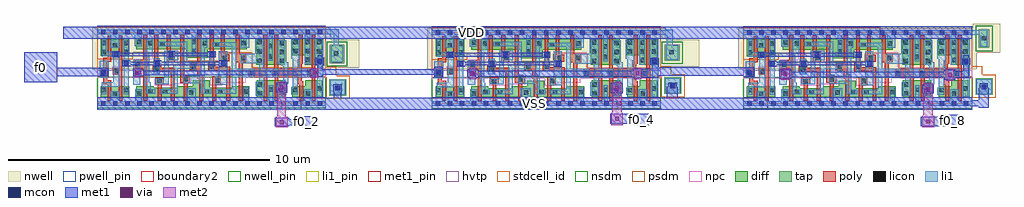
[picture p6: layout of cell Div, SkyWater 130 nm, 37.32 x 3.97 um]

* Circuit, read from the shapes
.subckt Div VDD VSS f0 f0_2 f0_4 f0_8
XM1 VSS f0 n1 VSS sky130_fd_pr__nfet_01v8 w=0.42 l=0.15
XM2 n2 n1 VSS VSS sky130_fd_pr__nfet_01v8 w=0.42 l=0.15
XM3 n3 sky130_fd_sc_hd__dfxbp_1_1/CLK VSS VSS sky130_fd_pr__nfet_01v8 w=0.42 l=0.15
XM4 n4 n1 n3 VSS sky130_fd_pr__nfet_01v8 w=0.36 l=0.15
XM5 n5 n2 n4 VSS sky130_fd_pr__nfet_01v8 w=0.36 l=0.15
XM6 VSS n6 n5 VSS sky130_fd_pr__nfet_01v8 w=0.42 l=0.15
XM7 n6 n4 VSS VSS sky130_fd_pr__nfet_01v8 w=0.64 l=0.15
XM8 n7 n2 n6 VSS sky130_fd_pr__nfet_01v8 w=0.36 l=0.15
XM9 n8 n1 n7 VSS sky130_fd_pr__nfet_01v8 w=0.36 l=0.15
XM10 VSS n9 n8 VSS sky130_fd_pr__nfet_01v8 w=0.42 l=0.15
XM11 VSS n7 n9 VSS sky130_fd_pr__nfet_01v8 w=0.65 l=0.15
XM12 f0_2 n9 VSS VSS sky130_fd_pr__nfet_01v8 w=0.65 l=0.15
XM13 VSS n9 n10 VSS sky130_fd_pr__nfet_01v8 w=0.42 l=0.15
XM14 sky130_fd_sc_hd__dfxbp_1_1/CLK n10 VSS VSS sky130_fd_pr__nfet_01v8 w=0.65 l=0.15
XM15 VSS sky130_fd_sc_hd__dfxbp_1_1/CLK n11 VSS sky130_fd_pr__nfet_01v8 w=0.42 l=0.15
XM16 n12 n11 VSS VSS sky130_fd_pr__nfet_01v8 w=0.42 l=0.15
XM17 n13 sky130_fd_sc_hd__dfxbp_1_0/CLK VSS VSS sky130_fd_pr__nfet_01v8 w=0.42 l=0.15
XM18 n14 n11 n13 VSS sky130_fd_pr__nfet_01v8 w=0.36 l=0.15
XM19 n15 n12 n14 VSS sky130_fd_pr__nfet_01v8 w=0.36 l=0.15
XM20 VSS n16 n15 VSS sky130_fd_pr__nfet_01v8 w=0.42 l=0.15
XM21 n16 n14 VSS VSS sky130_fd_pr__nfet_01v8 w=0.64 l=0.15
XM22 n17 n12 n16 VSS sky130_fd_pr__nfet_01v8 w=0.36 l=0.15
XM23 n18 n11 n17 VSS sky130_fd_pr__nfet_01v8 w=0.36 l=0.15
XM24 VSS n19 n18 VSS sky130_fd_pr__nfet_01v8 w=0.42 l=0.15
XM25 VSS n17 n19 VSS sky130_fd_pr__nfet_01v8 w=0.65 l=0.15
XM26 f0_4 n19 VSS VSS sky130_fd_pr__nfet_01v8 w=0.65 l=0.15
XM27 VSS n19 n20 VSS sky130_fd_pr__nfet_01v8 w=0.42 l=0.15
XM28 sky130_fd_sc_hd__dfxbp_1_0/CLK n20 VSS VSS sky130_fd_pr__nfet_01v8 w=0.65 l=0.15
XM29 VSS sky130_fd_sc_hd__dfxbp_1_0/CLK n21 VSS sky130_fd_pr__nfet_01v8 w=0.42 l=0.15
XM30 n22 n21 VSS VSS sky130_fd_pr__nfet_01v8 w=0.42 l=0.15
XM31 n23 sky130_fd_sc_hd__dfxbp_1_0/D VSS VSS sky130_fd_pr__nfet_01v8 w=0.42 l=0.15
XM32 n24 n21 n23 VSS sky130_fd_pr__nfet_01v8 w=0.36 l=0.15
XM33 n25 n22 n24 VSS sky130_fd_pr__nfet_01v8 w=0.36 l=0.15
XM34 VSS n26 n25 VSS sky130_fd_pr__nfet_01v8 w=0.42 l=0.15
XM35 n26 n24 VSS VSS sky130_fd_pr__nfet_01v8 w=0.64 l=0.15
XM36 n27 n22 n26 VSS sky130_fd_pr__nfet_01v8 w=0.36 l=0.15
XM37 n28 n21 n27 VSS sky130_fd_pr__nfet_01v8 w=0.36 l=0.15
XM38 VSS n29 n28 VSS sky130_fd_pr__nfet_01v8 w=0.42 l=0.15
XM39 VSS n27 n29 VSS sky130_fd_pr__nfet_01v8 w=0.65 l=0.15
XM40 f0_8 n29 VSS VSS sky130_fd_pr__nfet_01v8 w=0.65 l=0.15
XM41 VSS n29 n30 VSS sky130_fd_pr__nfet_01v8 w=0.42 l=0.15
XM42 sky130_fd_sc_hd__dfxbp_1_0/D n30 VSS VSS sky130_fd_pr__nfet_01v8 w=0.65 l=0.15
XM43 VDD f0 n1 VDD sky130_fd_pr__pfet_01v8_hvt w=0.64 l=0.15
XM44 n2 n1 VDD VDD sky130_fd_pr__pfet_01v8_hvt w=0.64 l=0.15
XM45 n3 sky130_fd_sc_hd__dfxbp_1_1/CLK VDD VDD sky130_fd_pr__pfet_01v8_hvt w=0.42 l=0.15
XM46 n4 n2 n3 VDD sky130_fd_pr__pfet_01v8_hvt w=0.42 l=0.15
XM47 n31 n1 n4 VDD sky130_fd_pr__pfet_01v8_hvt w=0.42 l=0.15
XM48 VDD n6 n31 VDD sky130_fd_pr__pfet_01v8_hvt w=0.42 l=0.15
XM49 n6 n4 VDD VDD sky130_fd_pr__pfet_01v8_hvt w=0.75 l=0.15
XM50 n7 n1 n6 VDD sky130_fd_pr__pfet_01v8_hvt w=0.42 l=0.15
XM51 n32 n2 n7 VDD sky130_fd_pr__pfet_01v8_hvt w=0.42 l=0.15
XM52 VDD n9 n32 VDD sky130_fd_pr__pfet_01v8_hvt w=0.42 l=0.15
XM53 VDD n7 n9 VDD sky130_fd_pr__pfet_01v8_hvt w=1 l=0.15
XM54 f0_2 n9 VDD VDD sky130_fd_pr__pfet_01v8_hvt w=1 l=0.15
XM55 VDD n9 n10 VDD sky130_fd_pr__pfet_01v8_hvt w=0.64 l=0.15
XM56 sky130_fd_sc_hd__dfxbp_1_1/CLK n10 VDD VDD sky130_fd_pr__pfet_01v8_hvt w=1 l=0.15
XM57 VDD sky130_fd_sc_hd__dfxbp_1_1/CLK n11 VDD sky130_fd_pr__pfet_01v8_hvt w=0.64 l=0.15
XM58 n12 n11 VDD VDD sky130_fd_pr__pfet_01v8_hvt w=0.64 l=0.15
XM59 n13 sky130_fd_sc_hd__dfxbp_1_0/CLK VDD VDD sky130_fd_pr__pfet_01v8_hvt w=0.42 l=0.15
XM60 n14 n12 n13 VDD sky130_fd_pr__pfet_01v8_hvt w=0.42 l=0.15
XM61 n33 n11 n14 VDD sky130_fd_pr__pfet_01v8_hvt w=0.42 l=0.15
XM62 VDD n16 n33 VDD sky130_fd_pr__pfet_01v8_hvt w=0.42 l=0.15
XM63 n16 n14 VDD VDD sky130_fd_pr__pfet_01v8_hvt w=0.75 l=0.15
XM64 n17 n11 n16 VDD sky130_fd_pr__pfet_01v8_hvt w=0.42 l=0.15
XM65 n34 n12 n17 VDD sky130_fd_pr__pfet_01v8_hvt w=0.42 l=0.15
XM66 VDD n19 n34 VDD sky130_fd_pr__pfet_01v8_hvt w=0.42 l=0.15
XM67 VDD n17 n19 VDD sky130_fd_pr__pfet_01v8_hvt w=1 l=0.15
XM68 f0_4 n19 VDD VDD sky130_fd_pr__pfet_01v8_hvt w=1 l=0.15
XM69 VDD n19 n20 VDD sky130_fd_pr__pfet_01v8_hvt w=0.64 l=0.15
XM70 sky130_fd_sc_hd__dfxbp_1_0/CLK n20 VDD VDD sky130_fd_pr__pfet_01v8_hvt w=1 l=0.15
XM71 VDD sky130_fd_sc_hd__dfxbp_1_0/CLK n21 VDD sky130_fd_pr__pfet_01v8_hvt w=0.64 l=0.15
XM72 n22 n21 VDD VDD sky130_fd_pr__pfet_01v8_hvt w=0.64 l=0.15
XM73 n23 sky130_fd_sc_hd__dfxbp_1_0/D VDD VDD sky130_fd_pr__pfet_01v8_hvt w=0.42 l=0.15
XM74 n24 n22 n23 VDD sky130_fd_pr__pfet_01v8_hvt w=0.42 l=0.15
XM75 n35 n21 n24 VDD sky130_fd_pr__pfet_01v8_hvt w=0.42 l=0.15
XM76 VDD n26 n35 VDD sky130_fd_pr__pfet_01v8_hvt w=0.42 l=0.15
XM77 n26 n24 VDD VDD sky130_fd_pr__pfet_01v8_hvt w=0.75 l=0.15
XM78 n27 n21 n26 VDD sky130_fd_pr__pfet_01v8_hvt w=0.42 l=0.15
XM79 n36 n22 n27 VDD sky130_fd_pr__pfet_01v8_hvt w=0.42 l=0.15
XM80 VDD n29 n36 VDD sky130_fd_pr__pfet_01v8_hvt w=0.42 l=0.15
XM81 VDD n27 n29 VDD sky130_fd_pr__pfet_01v8_hvt w=1 l=0.15
XM82 f0_8 n29 VDD VDD sky130_fd_pr__pfet_01v8_hvt w=1 l=0.15
XM83 VDD n29 n30 VDD sky130_fd_pr__pfet_01v8_hvt w=0.64 l=0.15
XM84 sky130_fd_sc_hd__dfxbp_1_0/D n30 VDD VDD sky130_fd_pr__pfet_01v8_hvt w=1 l=0.15
.ends

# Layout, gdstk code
import gdstk
lib = gdstk.Library(unit=1e-6, precision=1e-09)
def R(c, l, rs):  # rectangles x0, y0, x1, y1
    for r in rs: c.add(gdstk.rectangle(r[:2], r[2:], *l))
def A(c, l, x, y, w, h, nx, ny, dx, dy):  # array of equal rectangles
    R(c, l, [(x+i*dx, y+j*dy, x+i*dx+w, y+j*dy+h) for i in range(nx) for j in range(ny)])
def P(c, l, *ps):  # polygons
    for p in ps: c.add(gdstk.Polygon(p, *l))
nwell_pin = (64, 16)
nwell = (64, 20)
diff = (65, 20)
tap = (65, 44)
poly = (66, 20)
licon = (66, 44)
li1_pin = (67, 16)
li1 = (67, 20)
mcon = (67, 44)
met1_pin = (68, 16)
met1 = (68, 20)
via = (68, 44)
met2 = (69, 20)
hvtp = (78, 44)
stdcell_id = (81, 4)
nsdm = (93, 44)
psdm = (94, 20)
npc = (95, 20)
pwell_pin = (122, 16)
boundary2 = (236, 0)

sky130_fd_sc_hd__dfxbp_1 = lib.new_cell('sky130_fd_sc_hd__dfxbp_1')
R(sky130_fd_sc_hd__dfxbp_1, nwell_pin, [(0.145,2.635,0.315,2.805), (0.145,2.635,0.315,2.805)])
R(sky130_fd_sc_hd__dfxbp_1, nwell, [(-0.19,1.305,8.93,2.91)])
R(sky130_fd_sc_hd__dfxbp_1, diff, [(0.135,0.235,1.225,0.655), (6.1,0.235,7.19,0.885), (6.08,1.485,7.18,2.485), (0.135,1.815,1.225,2.455)])
P(sky130_fd_sc_hd__dfxbp_1, diff, [(5.71,2.485),(1.495,2.485),(1.495,2.065),(3.395,2.065),(3.395,1.735),(4.23,1.735),(4.23,2.065),(5.71,2.065)],
  [(5.82,0.655),(5.16,0.655),(5.16,0.595),(4.3,0.595),(4.3,0.875),(3.65,0.875),(3.65,0.655),(3.055,0.655),(3.055,0.595),(2.155,0.595),(2.155,0.655),(1.495,0.655),(1.495,0.235),(5.82,0.235)],
  [(8.605,2.485),(7.45,2.485),(7.45,1.845),(7.935,1.845),(7.935,1.485),(8.605,1.485)],
  [(8.605,0.885),(7.945,0.885),(7.945,0.655),(7.46,0.655),(7.46,0.235),(8.605,0.235)])
P(sky130_fd_sc_hd__dfxbp_1, poly, [(0.545,0.88),(0.38,0.88),(0.38,1.59),(0.545,1.59),(0.545,2.585),(0.395,2.585),(0.395,1.74),(0.23,1.74),(0.23,1.325),(0.11,1.325),(0.11,0.995),(0.23,0.995),(0.23,0.73),(0.395,0.73),(0.395,0.105),(0.545,0.105)],
  [(0.965,2.585),(0.815,2.585),(0.815,1.37),(0.59,1.37),(0.59,1.1),(0.815,1.1),(0.815,0.105),(0.965,0.105)],
  [(1.905,2.615),(1.755,2.615),(1.755,1.665),(1.43,1.665),(1.43,1.335),(1.755,1.335),(1.755,0.105),(1.905,0.105)],
  [(2.545,1.005),(2.215,1.005),(2.215,0.735),(2.315,0.735),(2.315,0.105),(2.465,0.105),(2.465,0.735),(2.545,0.735)],
  [(2.96,1.905),(2.805,1.905),(2.805,2.615),(2.655,2.615),(2.655,1.575),(2.96,1.575)],
  [(2.96,1.365),(2.445,1.365),(2.445,1.485),(2.33,1.485),(2.33,2.615),(2.18,2.615),(2.18,1.485),(2.115,1.485),(2.115,1.215),(2.81,1.215),(2.81,0.105),(2.96,0.105)],
  [(3.54,1.065),(3.32,1.065),(3.32,2.615),(3.17,2.615),(3.17,0.795),(3.305,0.795),(3.305,0.105),(3.455,0.105),(3.455,0.795),(3.54,0.795)],
  [(5.7,1.905),(5.445,1.905),(5.445,2.615),(5.295,2.615),(5.295,1.575),(5.41,1.575),(5.41,0.105),(5.56,0.105),(5.56,1.575),(5.7,1.575)],
  [(6.51,1.325),(6.5,1.325),(6.5,2.615),(6.35,2.615),(6.35,1.325),(5.8,1.325),(5.8,0.995),(6.36,0.995),(6.36,0.105),(6.51,0.105)],
  [(7.87,0.85),(7.815,0.85),(7.815,1.515),(7.86,1.515),(7.86,2.615),(7.71,2.615),(7.71,1.665),(7.665,1.665),(7.665,1.325),(6.92,1.325),(6.92,2.615),(6.77,2.615),(6.77,1.325),(6.72,1.325),(6.72,0.995),(6.78,0.995),(6.78,0.105),(6.93,0.105),(6.93,0.995),(7.665,0.995),(7.665,0.73),(7.72,0.73),(7.72,0.105),(7.87,0.105)],
  [(4.05,1.1),(3.98,1.1),(3.98,2.615),(3.83,2.615),(3.83,1.545),(3.53,1.545),(3.53,1.275),(3.83,1.275),(3.83,0.95),(3.9,0.95),(3.9,0.105),(4.05,0.105)],
  [(4.725,1.035),(4.405,1.035),(4.405,0.105),(4.555,0.105),(4.555,0.705),(4.725,0.705)],
  [(8.345,2.615),(8.195,2.615),(8.195,1.325),(8.025,1.325),(8.025,0.995),(8.195,0.995),(8.195,0.105),(8.345,0.105)],
  [(5.05,1.875),(4.875,1.875),(4.875,2.615),(4.725,2.615),(4.725,1.875),(4.72,1.875),(4.72,1.605),(5.05,1.605)],
  [(5.085,1.395),(4.51,1.395),(4.51,1.575),(4.455,1.575),(4.455,2.615),(4.305,2.615),(4.305,1.575),(4.24,1.575),(4.24,1.245),(4.935,1.245),(4.935,0.105),(5.085,0.105)])
A(sky130_fd_sc_hd__dfxbp_1, licon, 6.12, 1.545, 0.17, 0.17, 1, 3, 0, 0.355)
A(sky130_fd_sc_hd__dfxbp_1, licon, 6.97, 1.545, 0.17, 0.17, 1, 3, 0, 0.34)
A(sky130_fd_sc_hd__dfxbp_1, licon, 8.395, 1.545, 0.17, 0.17, 1, 3, 0, 0.355)
A(sky130_fd_sc_hd__dfxbp_1, licon, 7.975, 1.575, 0.17, 0.17, 1, 3, 0, 0.34)
R(sky130_fd_sc_hd__dfxbp_1, licon, [(0.595,0.295,0.765,0.465), (1.535,0.295,1.705,0.465), (7.975,0.295,8.145,0.465), (6.14,0.3,6.31,0.47), (6.98,0.31,7.15,0.48), (3.51,0.335,3.68,0.505), (1.96,0.365,2.13,0.535), (2.515,0.365,2.685,0.535), (4.105,0.365,4.275,0.535), (4.62,0.365,4.79,0.535), (5.61,0.365,5.78,0.535), (0.175,0.425,0.345,0.595), (1.015,0.425,1.185,0.595), (7.5,0.425,7.67,0.595), (6.56,0.445,6.73,0.615), (8.395,0.485,8.565,0.655), (6.14,0.64,6.31,0.81), (6.98,0.65,7.15,0.82), (2.295,0.785,2.465,0.955), (4.505,0.785,4.675,0.955), (3.29,0.845,3.46,1.015), (0.16,1.075,0.33,1.245), (5.85,1.075,6.02,1.245), (6.77,1.075,6.94,1.245), (8.075,1.075,8.245,1.245), (0.67,1.15,0.84,1.32), (2.195,1.265,2.365,1.435), (3.61,1.325,3.78,1.495), (4.29,1.325,4.46,1.495), (1.48,1.415,1.65,1.585), (2.74,1.655,2.91,1.825), (4.8,1.655,4.97,1.825), (5.48,1.655,5.65,1.825), (6.55,1.705,6.72,1.875), (0.175,1.875,0.345,2.045), (1.015,1.875,1.185,2.045), (3.61,1.915,3.78,2.085), (7.49,1.915,7.66,2.085), (6.55,2.105,6.72,2.275), (0.595,2.135,0.765,2.305), (4.505,2.165,4.675,2.335), (2.415,2.19,2.585,2.36), (0.175,2.215,0.345,2.385), (1.015,2.215,1.185,2.385), (1.955,2.215,2.125,2.385), (4.03,2.215,4.2,2.385), (5.5,2.215,5.67,2.385), (1.535,2.255,1.705,2.425), (3.61,2.255,3.78,2.425), (7.49,2.255,7.66,2.425)])
R(sky130_fd_sc_hd__dfxbp_1, li1_pin, [(6.95,0.425,7.12,0.595), (0.145,1.105,0.315,1.275), (1.445,1.105,1.615,1.275), (8.425,1.52,8.595,1.69)])
R(sky130_fd_sc_hd__dfxbp_1, li1, [(1.015,0.345,1.2,2.465), (1.37,0.715,1.65,1.665), (0.09,0.975,0.44,1.625), (2.16,1.125,2.4,1.72), (4.29,1.245,4.48,1.965)])
P(sky130_fd_sc_hd__dfxbp_1, li1, [(0.84,1.965),(0.345,1.965),(0.345,2.465),(0.175,2.465),(0.175,1.795),(0.61,1.795),(0.61,0.805),(0.175,0.805),(0.175,0.345),(0.345,0.345),(0.345,0.635),(0.84,0.635)],
  [(2.21,0.535),(2.045,0.535),(2.045,0.805),(1.99,0.805),(1.99,1.91),(2.125,1.91),(2.125,2.465),(1.875,2.465),(1.875,2.04),(1.82,2.04),(1.82,0.675),(1.875,0.675),(1.875,0.365),(2.21,0.365)],
  [(3.1,2.02),(2.57,2.02),(2.57,0.955),(2.215,0.955),(2.215,0.735),(2.74,0.735),(2.74,1.655),(3.1,1.655)],
  [(3.78,1.575),(3.44,1.575),(3.44,2.36),(2.335,2.36),(2.335,2.19),(3.27,2.19),(3.27,1.485),(2.91,1.485),(2.91,0.535),(2.405,0.535),(2.405,0.365),(3.08,0.365),(3.08,1.315),(3.61,1.315),(3.61,1.245),(3.78,1.245)],
  [(4.355,0.535),(4.12,0.535),(4.12,2.135),(4.2,2.135),(4.2,2.465),(3.95,2.465),(3.95,1.065),(3.49,1.065),(3.49,1.095),(3.29,1.095),(3.29,0.765),(3.95,0.765),(3.95,0.365),(4.355,0.365)],
  [(4.97,1.995),(4.65,1.995),(4.65,1.035),(4.505,1.035),(4.505,0.705),(4.97,0.705)],
  [(8.74,0.085),(8.225,0.085),(8.225,0.545),(7.905,0.545),(7.905,0.085),(6.73,0.085),(6.73,0.695),(6.56,0.695),(6.56,0.085),(5.795,0.085),(5.795,0.615),(5.585,0.615),(5.585,0.085),(3.77,0.085),(3.77,0.585),(3.4,0.585),(3.4,0.085),(1.705,0.085),(1.705,0.545),(1.455,0.545),(1.455,0.085),(0.845,0.085),(0.845,0.465),(0.515,0.465),(0.515,0.085),(0,0.085),(0,-0.085),(8.74,-0.085)],
  [(6.02,1.325),(5.31,1.325),(5.31,2.335),(4.425,2.335),(4.425,2.165),(5.14,2.165),(5.14,0.535),(4.525,0.535),(4.525,0.365),(5.31,0.365),(5.31,0.995),(6.02,0.995)],
  [(6.94,1.325),(6.38,1.325),(6.38,2.465),(6.04,2.465),(6.04,1.905),(5.48,1.905),(5.48,1.53),(6.19,1.53),(6.19,0.825),(6.06,0.825),(6.06,0.3),(6.39,0.3),(6.39,0.995),(6.94,0.995)],
  [(7.3,1.575),(7.22,1.575),(7.22,2.42),(6.89,2.42),(6.89,1.495),(7.065,1.495),(7.065,1.445),(7.11,1.445),(7.11,0.865),(7.055,0.865),(7.055,0.825),(6.9,0.825),(6.9,0.305),(7.23,0.305),(7.23,0.74),(7.3,0.74)],
  [(8.245,1.325),(7.74,1.325),(7.74,2.445),(7.41,2.445),(7.41,1.715),(7.47,1.715),(7.47,0.615),(7.42,0.615),(7.42,0.345),(7.67,0.345),(7.67,0.995),(8.245,0.995)],
  [(8.65,2.465),(8.315,2.465),(8.315,1.48),(8.415,1.48),(8.415,0.91),(8.395,0.91),(8.395,0.255),(8.65,0.255)],
  [(8.74,2.805),(0,2.805),(0,2.635),(0.515,2.635),(0.515,2.135),(0.845,2.135),(0.845,2.635),(1.44,2.635),(1.44,2.175),(1.705,2.175),(1.705,2.635),(3.61,2.635),(3.61,1.835),(3.78,1.835),(3.78,2.635),(5.49,2.635),(5.49,2.135),(5.805,2.135),(5.805,2.635),(6.55,2.635),(6.55,1.625),(6.72,1.625),(6.72,2.635),(7.93,2.635),(7.93,1.495),(8.145,1.495),(8.145,2.635),(8.74,2.635)])
A(sky130_fd_sc_hd__dfxbp_1, mcon, 0.145, -0.085, 0.17, 0.17, 19, 2, 0.46, 2.72)
R(sky130_fd_sc_hd__dfxbp_1, mcon, [(1.025,1.445,1.195,1.615), (2.215,1.445,2.385,1.615), (4.735,1.445,4.905,1.615), (0.63,1.785,0.8,1.955), (2.73,1.785,2.9,1.955), (4.3,1.785,4.47,1.955)])
R(sky130_fd_sc_hd__dfxbp_1, met1_pin, [(0.145,-0.085,0.315,0.085), (0.145,2.635,0.315,2.805)])
P(sky130_fd_sc_hd__dfxbp_1, met1, [(4.965,1.645),(4.675,1.645),(4.675,1.6),(2.445,1.6),(2.445,1.645),(2.155,1.645),(2.155,1.6),(1.255,1.6),(1.255,1.645),(0.965,1.645),(0.965,1.415),(1.255,1.415),(1.255,1.46),(2.155,1.46),(2.155,1.415),(2.445,1.415),(2.445,1.46),(4.675,1.46),(4.675,1.415),(4.965,1.415)],
  [(4.53,1.985),(4.24,1.985),(4.24,1.94),(2.96,1.94),(2.96,1.985),(2.67,1.985),(2.67,1.94),(0.86,1.94),(0.86,1.985),(0.57,1.985),(0.57,1.755),(0.86,1.755),(0.86,1.8),(2.67,1.8),(2.67,1.755),(2.96,1.755),(2.96,1.8),(4.24,1.8),(4.24,1.755),(4.53,1.755)])
R(sky130_fd_sc_hd__dfxbp_1, hvtp, [(0,1.25,8.74,2.72)])
R(sky130_fd_sc_hd__dfxbp_1, stdcell_id, [(0,0,8.74,2.72)])
R(sky130_fd_sc_hd__dfxbp_1, nsdm, [(0,-0.19,8.74,1.015)])
P(sky130_fd_sc_hd__dfxbp_1, psdm, [(8.74,2.91),(0,2.91),(0,1.685),(1.35,1.685),(1.35,1.935),(3.24,1.935),(3.24,1.605),(4.665,1.605),(4.665,1.935),(5.93,1.935),(5.93,1.355),(8.74,1.355)])
P(sky130_fd_sc_hd__dfxbp_1, npc, [(8.74,1.345),(5.91,1.345),(5.91,1.925),(4.675,1.925),(4.675,1.595),(3.085,1.595),(3.085,1.925),(2.095,1.925),(2.095,1.685),(1.38,1.685),(1.38,1.42),(0.565,1.42),(0.565,1.345),(0,1.345),(0,0.975),(2.195,0.975),(2.195,0.685),(2.905,0.685),(2.905,0.745),(3.59,0.745),(3.59,0.975),(4.32,0.975),(4.32,0.685),(4.775,0.685),(4.775,0.795),(5.675,0.795),(5.675,0.975),(8.74,0.975)])
R(sky130_fd_sc_hd__dfxbp_1, pwell_pin, [(0.145,-0.085,0.315,0.085), (0.145,-0.085,0.315,0.085)])
R(sky130_fd_sc_hd__dfxbp_1, boundary2, [(0,0,8.74,2.72)])
sky130_fd_sc_hd__dfxbp_1.add(gdstk.FlexPath([(0,2.72),(8.74,2.72)], 0.48, ends="flush", simple_path=True, layer=68, datatype=20))  # met1
sky130_fd_sc_hd__dfxbp_1.add(gdstk.FlexPath([(0,0),(8.74,0)], 0.48, ends="flush", simple_path=True, layer=68, datatype=20))  # met1
sky130_fd_sc_hd__dfxbp_1.add(gdstk.Label('VGND', (0.23,0), layer=68, texttype=5))
sky130_fd_sc_hd__dfxbp_1.add(gdstk.Label('VPWR', (0.23,2.72), layer=68, texttype=5))
sky130_fd_sc_hd__dfxbp_1.add(gdstk.Label('Q_N', (8.52,1.61), layer=67, texttype=5))
sky130_fd_sc_hd__dfxbp_1.add(gdstk.Label('D', (1.535,1.19), layer=67, texttype=5))
sky130_fd_sc_hd__dfxbp_1.add(gdstk.Label('CLK', (0.23,1.19), layer=67, texttype=5))
sky130_fd_sc_hd__dfxbp_1.add(gdstk.Label('Q', (7.035,0.51), layer=67, texttype=5))
sky130_fd_sc_hd__dfxbp_1.add(gdstk.Label('VNB', (0.23,0), layer=64, texttype=59))
sky130_fd_sc_hd__dfxbp_1.add(gdstk.Label('VNB', (0.23,0), layer=64, texttype=59))
sky130_fd_sc_hd__dfxbp_1.add(gdstk.Label('VPB', (0.23,2.72), layer=64, texttype=5))
sky130_fd_sc_hd__dfxbp_1.add(gdstk.Label('VPB', (0.23,2.72), layer=64, texttype=5))
sky130_fd_sc_hd__dfxbp_1.add(gdstk.Label('dfxbp_1', (0,0), layer=83, texttype=44))

div = lib.new_cell('Div')
R(div, nwell, [(8.18,-1.88,9.46,-0.81), (20.96,-1.84,22.47,-0.8), (32.93,-1.3,33.97,-0.19)])
R(div, tap, [(8.33,-2.94,8.98,-2.31), (33.04,-2.91,33.69,-2.28), (21.14,-2.88,21.79,-2.25), (8.35,-1.7,8.89,-1), (21.16,-1.61,21.72,-1), (33.16,-1.12,33.56,-0.4)])
R(div, licon, [(8.565,-2.73,8.735,-2.56), (33.275,-2.7,33.445,-2.53), (21.375,-2.67,21.545,-2.5), (8.495,-1.42,8.665,-1.25), (21.33,-1.37,21.5,-1.2), (33.27,-0.835,33.44,-0.665)])
R(div, li1, [(8.36,-2.92,8.94,-2.34), (33.07,-2.89,33.65,-2.31), (21.17,-2.86,21.75,-2.28), (31.08,-2.84,31.29,-2.83), (19.18,-2.83,19.39,-2.65), (31.08,-2.83,31.3,-2.65), (6.39,-2.81,6.57,-2.63), (31.1,-2.65,31.3,-2.64), (13.62,-2.26,13.9,-1.92), (25.53,-2.25,25.81,-1.85), (24.24,-2.19,24.52,-1.93), (-0.45,-2.18,-0.18,-1.91), (0.87,-2.18,1.08,-1.95), (12.37,-2.18,12.63,-1.9), (7.85,-1.75,8.08,-1.53), (20.66,-1.73,20.86,-1.54), (32.58,-1.73,32.77,-1.55), (8.4,-1.66,8.83,-1.04), (21.2,-1.58,21.67,-1.02), (33.21,-1.08,33.48,-0.61), (8.49,-1.04,8.68,-0.6), (21.23,-1.02,21.45,-0.61), (20.68,-0.61,21.45,-0.44), (32.58,-0.61,33.48,-0.44), (7.84,-0.6,8.68,-0.41), (21.23,-0.44,21.45,-0.43), (33.21,-0.44,33.48,-0.42)])
R(div, mcon, [(19.2,-2.825,19.37,-2.655), (31.105,-2.825,31.275,-2.655), (6.395,-2.805,6.565,-2.635), (8.555,-2.73,8.725,-2.56), (33.265,-2.7,33.435,-2.53), (21.365,-2.67,21.535,-2.5), (13.69,-2.175,13.86,-2.005), (24.295,-2.145,24.465,-1.975), (25.61,-2.145,25.78,-1.975), (0.895,-2.14,1.065,-1.97), (-0.4,-2.13,-0.23,-1.96), (12.415,-2.125,12.585,-1.955), (7.88,-1.725,8.05,-1.555), (32.59,-1.725,32.76,-1.555), (20.675,-1.72,20.845,-1.55)])
R(div, met1_pin, [(7.22,-4.15,7.72,-3.74), (31.88,-4.1,32.43,-3.68), (19.99,-4.08,20.56,-3.64), (7.23,-3.48,25.09,-3.02), (-3.35,-2.44,-2.08,-1.28), (-1.85,-0.77,29.4,-0.31)])
R(div, met1, [(7.22,-4.15,7.72,-4.08), (6.23,-4.11,6.79,-4.08), (30.94,-4.11,32,-4.1), (30.94,-4.1,32.43,-3.76), (6.23,-4.08,7.72,-3.84), (19.99,-4.08,20.56,-4.02), (19.06,-4.02,20.56,-3.64), (6.23,-3.84,6.79,-3.8), (7.22,-3.84,7.72,-3.74), (31.88,-3.76,32.43,-3.68), (19.57,-3.64,20.13,-3.63), (7.23,-3.48,25.09,-3.02), (33.16,-3.4,33.54,-3.36), (32.48,-3.36,33.54,-3.13), (33.16,-3.13,33.54,-2.66), (8.49,-3.02,8.79,-2.79), (21.23,-3.02,21.65,-2.61), (31.02,-2.87,31.35,-2.86), (19.12,-2.86,19.45,-2.85), (31,-2.86,31.44,-2.53), (19.09,-2.85,19.54,-2.47), (6.33,-2.84,6.63,-2.83), (6.3,-2.83,6.72,-2.46), (8.48,-2.79,8.8,-2.51), (33.19,-2.66,33.51,-2.48), (21.29,-2.61,21.61,-2.45), (-3.35,-2.44,-2.08,-2.21), (31.84,-2.33,32.26,-2.26), (25.53,-2.29,25.98,-2.25), (13.62,-2.27,14,-2.23), (19.92,-2.27,20.9,-2.22), (31.84,-2.26,32.78,-2.25), (25.53,-2.25,32.78,-2.03), (12.34,-2.24,12.66,-2.14), (13.6,-2.23,14,-2.22), (7.89,-2.22,8.06,-2.21), (13.6,-2.22,20.9,-2.19), (24.18,-2.22,24.58,-2.19), (-3.35,-2.21,-0.12,-1.88), (7.57,-2.21,8.06,-2.17), (0.83,-2.2,1.19,-2.18), (13.6,-2.19,24.58,-1.99), (0.82,-2.18,1.19,-2.17), (0.82,-2.17,8.06,-2.14), (0.82,-2.14,12.66,-1.99), (25.53,-2.03,25.98,-1.94), (31.84,-2.03,32.78,-2.01), (31.84,-2.01,32.26,-1.96), (32.56,-2.01,32.78,-1.76), (0.82,-1.99,1.19,-1.93), (7.57,-1.99,12.66,-1.94), (13.6,-1.99,14,-1.95), (19.92,-1.99,24.58,-1.92), (13.62,-1.95,14,-1.93), (7.89,-1.94,8.06,-1.78), (12.34,-1.94,12.66,-1.84), (0.83,-1.93,1.19,-1.92), (20.65,-1.92,24.58,-1.86), (-3.35,-1.88,-2.08,-1.28), (20.65,-1.86,20.93,-1.76), (7.79,-1.78,8.14,-1.5), (20.6,-1.76,20.93,-1.7), (32.52,-1.76,32.83,-1.52), (20.6,-1.7,20.92,-1.51), (32.56,-1.52,32.78,-1.41), (20.65,-1.51,20.89,-1.49), (7.89,-1.5,8.06,-1.41), (-1.85,-0.77,29.4,-0.31)])
R(div, via, [(6.435,-4.03,6.585,-3.88), (31.15,-4.01,31.3,-3.86), (19.25,-3.905,19.4,-3.755), (31.145,-2.77,31.295,-2.62), (19.24,-2.735,19.39,-2.585), (6.435,-2.72,6.585,-2.57), (31.975,-2.22,32.125,-2.07), (25.68,-2.19,25.83,-2.04), (13.735,-2.175,13.885,-2.025), (20.035,-2.17,20.185,-2.02), (7.685,-2.15,7.835,-2), (0.935,-2.135,1.085,-1.985)])
R(div, met2, [(6.28,-4.16,6.74,-3.75), (30.99,-4.16,31.46,-3.71), (19.11,-4.07,19.54,-3.59), (6.34,-3.75,6.66,-2.88), (31.04,-3.71,31.39,-2.88), (19.14,-3.59,19.5,-2.87), (6.34,-2.88,6.67,-2.73), (31.05,-2.88,31.39,-2.48), (19.14,-2.87,19.49,-2.42), (6.35,-2.73,6.67,-2.41), (31.89,-2.38,32.21,-1.91), (25.58,-2.34,25.93,-1.89), (13.67,-2.32,13.95,-1.88), (19.97,-2.32,20.25,-1.87), (7.62,-2.26,7.9,-1.89), (0.88,-2.25,1.14,-1.87)])
R(div, nsdm, [(8.225,-1.825,9.015,-0.875), (21.035,-1.735,21.845,-0.875), (33.035,-1.245,33.685,-0.275)])
R(div, psdm, [(8.205,-3.065,9.105,-2.225), (32.915,-3.035,33.815,-2.215), (21.015,-3.005,21.915,-2.2), (7.8,-2.225,9.105,-2.185), (32.51,-2.215,33.815,-2.155), (20.605,-2.2,21.915,-2.125), (7.8,-2.185,8.585,-1.88), (32.51,-2.155,33.295,-1.89), (20.605,-2.125,21.39,-1.89), (20.98,-1.89,21.39,-1.815), (32.89,-1.89,33.295,-1.83), (8.18,-1.88,8.585,-1.84)])
div.add(gdstk.Reference(sky130_fd_sc_hd__dfxbp_1, (24.16,-3.25)))
div.add(gdstk.Reference(sky130_fd_sc_hd__dfxbp_1, (12.25,-3.25)))
div.add(gdstk.Reference(sky130_fd_sc_hd__dfxbp_1, (-0.55,-3.24)))
div.add(gdstk.Label('VDD', (13.775,-0.54), layer=68, texttype=5))
div.add(gdstk.Label('VSS', (16.16,-3.25), layer=68, texttype=5))
div.add(gdstk.Label('f0', (-2.715,-1.86), layer=68, texttype=5))
div.add(gdstk.Label('f0_2', (7.47,-3.945), layer=68, texttype=5))
div.add(gdstk.Label('f0_4', (20.275,-3.86), layer=68, texttype=5))
div.add(gdstk.Label('f0_8', (32.155,-3.89), layer=68, texttype=5))

lib.write_gds('Div.gds')
